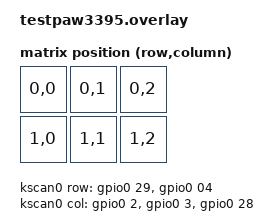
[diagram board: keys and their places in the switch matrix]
#include <dt-bindings/zmk/matrix_transform.h> // Put this with the other includes at the top of your overlay
#include "testpaw3395-layouts.dtsi"
#include <zephyr/dt-bindings/input/input-event-codes.h>

&spi2 {
	compatible = "nordic,nrf-spim";
    status = "okay";
	pinctrl-0 = <&spi2_default>;
	pinctrl-1 = <&spi2_sleep>;
	pinctrl-names = "default", "sleep";
	cs-gpios = <&gpio0 4 GPIO_ACTIVE_LOW>;

	trackball0: trackball@0 {
		compatible = "pixart,paw3395";
	    status = "okay";
		reg = <0>;
		spi-max-frequency = <1000000>;

		// paw3395 driver parameters
		irq-gpios = <&gpio1 11 (GPIO_ACTIVE_LOW | GPIO_PULL_UP)>;
		cpi = <600>;
		// swap-xy; /* optional */
		// invert-x; /* optional */
		// invert-y; /* optional */
		evt-type = <INPUT_EV_REL>;
		x-input-code = <INPUT_REL_X>;
		y-input-code = <INPUT_REL_Y>;
	};
};

/ {

    mouse_input_listener {
        compatible = "zmk,input-listener";
        device = <&trackball0>;
    };
    kscan0: kscan0 {
        compatible = "zmk,kscan-gpio-matrix";
        diode-direction = "row2col";
        wakeup-source;

        col-gpios
            = 
                <&gpio0 2 (GPIO_ACTIVE_HIGH | GPIO_PULL_DOWN)>, 
                <&gpio0 3 (GPIO_ACTIVE_HIGH | GPIO_PULL_DOWN)>, 
                <&gpio0 28 (GPIO_ACTIVE_HIGH | GPIO_PULL_DOWN)>
            ;

        row-gpios
            =   <&gpio0 29 (GPIO_ACTIVE_HIGH )>, 
                <&gpio0 04 (GPIO_ACTIVE_HIGH )>
            ;
    };

    default_transform: keymap_transform0 {
        compatible = "zmk,matrix-transform";
        columns = <3>; // Length of the "col-gpios" array
        rows = <2>; // Length of the "row-gpios" array
        map = <
            RC(0,0) RC(0,1) RC(0,2)
            RC(1,0) RC(1,1) RC(1,2)
        >;
    };

    physical_layout0: physical_layout_0 { // First physical layout, use different naming for other layouts
        compatible = "zmk,physical-layout";
        display-name = "Default Layout";
        kscan = <&kscan0>; // Label of the kscan node, optional if all layouts use the same
        transform = <&default_transform>; // Label of the matrix transform for this layout
    };
    
    chosen {
        zmk,kscan = &kscan0;
        zmk,physical-layout = &physical_layout0;
        // Other chosen items
    };
};




